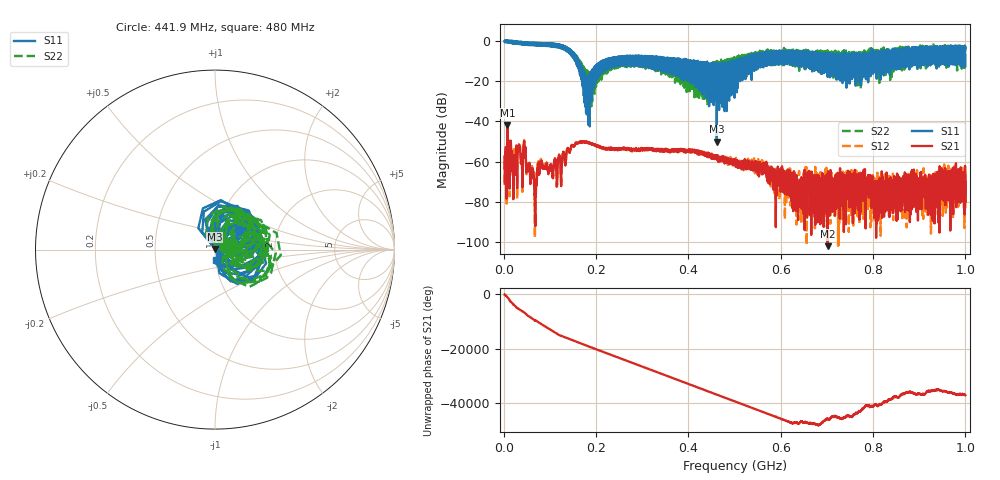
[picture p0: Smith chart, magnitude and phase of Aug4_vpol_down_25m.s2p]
!Keysight Technologies N9923A: A.12.45
!Date: Tuesday, 05 August 2025 20:49:13
!Timezone: (UTC+08:00) Kuala Lumpur, Singapore
!Model: N9923A
!Serial: MY61181427
!GPS Latitude:
!GPS Longitude:
!GPS TimeStamp: 0001-01-01 00:00:00Z
!GPS Seconds Since Last Read: 0
!CHECKSUM:2002447858
!Correction: S11(ON U)S21(ON U)S12(ON U)S22(ON U)
!S2P File: Measurements:S11,S21,S12,S22:
# Hz S DB R 50
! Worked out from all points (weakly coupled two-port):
!   4001 points, 2 MHz to 1 GHz, reference 50 ohm
!   highest |S21| = -41.87 dB at 7.988 MHz (marker M1); lowest = -102.0 dB at 701.6 MHz (marker M2)
!   lowest |S11| = -50.2 dB at 461.6 MHz (marker M3), VSWR 1.01, Z = 49.9 + j0.278 ohm
!   |S11| at or under -10 dB: 162.8 MHz to 213.8 MHz (51.02 MHz wide, 27.1 % of centre); 412.2 MHz to 420.4 MHz (8.167 MHz wide, 1.96 % of centre); 420.7 MHz to 494 MHz (73.35 MHz wide, 16 % of centre)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
!   |S22| runs from -35.0 to 0.1 dB; largest |S21 - S12| = 0.00094
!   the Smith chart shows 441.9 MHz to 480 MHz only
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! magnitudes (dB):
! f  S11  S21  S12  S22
! 2 MHz  -0.1  -70.9  -70.6  -0.1
! 7.988 MHz  -0.5  -41.9  -42.0  -0.5
! 12.73 MHz  -0.7  -73.4  -77.2  -0.8
! 24.21 MHz  -1.3  -59.3  -60.5  -1.4
! 46.66 MHz  -1.1  -53.8  -53.4  -1.2
! 67.37 MHz  -1.1  -77.4  -78.4  -1.1
! 77.85 MHz  -2.1  -63.3  -62.5  -2.1
! 111.3 MHz  -2.4  -58.7  -58.4  -2.3
! 137.7 MHz  -3.4  -53.9  -53.5  -3.4
! 168.4 MHz  -19.3  -50.3  -50.2  -16.5
! 181.6 MHz  -28.9  -50.5  -50.5  -26.0
! 229 MHz  -8.7  -53.5  -53.7  -9.7
! 334.8 MHz  -8.1  -53.9  -54.5  -10.2
! 461.6 MHz  -50.2  -58.9  -58.0  -21.7
! 501 MHz  -9.9  -60.5  -62.2  -9.0
! 564.4 MHz  -6.4  -64.4  -63.0  -10.6
! 643.7 MHz  -5.4  -72.1  -68.6  -7.7
! 667.4 MHz  -6.2  -76.0  -78.6  -6.7
! 701.6 MHz  -13.2  -102.0  -66.7  -4.9
! 833.8 MHz  -6.2  -77.9  -76.0  -13.7
! 974.1 MHz  -3.4  -71.0  -68.3  -5.4
! 1 GHz  -12.4  -69.9  -83.2  -4.0
